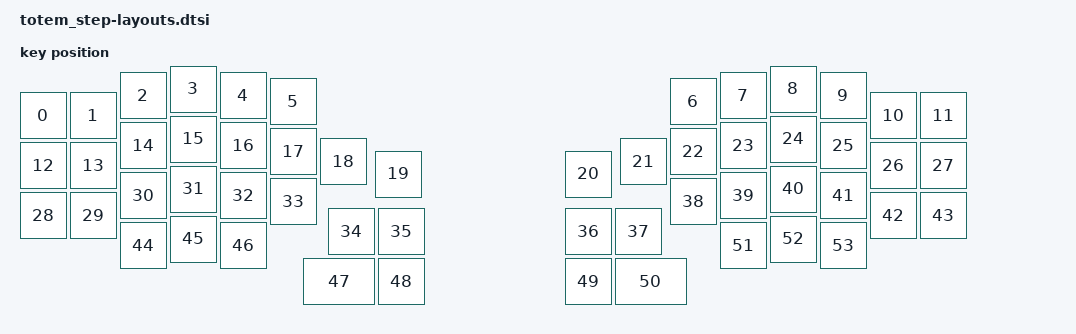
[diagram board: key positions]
#include <physical_layouts.dtsi>

/ {
    totem_step_physical_layout: totem_step_physical_layout {
        compatible = "zmk,physical-layout";
        display-name = "Totem_Step";

        keys  //                     w   h    x    y     rot    rx    ry
            = <&key_physical_attrs 100 100    0   53       0     0     0>
            , <&key_physical_attrs 100 100  100   53       0     0     0>
            , <&key_physical_attrs 100 100  200   13       0     0     0>
            , <&key_physical_attrs 100 100  300    0       0     0     0>
            , <&key_physical_attrs 100 100  400   13       0     0     0>
            , <&key_physical_attrs 100 100  500   25       0     0     0>
            , <&key_physical_attrs 100 100 1300   25       0     0     0>
            , <&key_physical_attrs 100 100 1400   13       0     0     0>
            , <&key_physical_attrs 100 100 1500    0       0     0     0>
            , <&key_physical_attrs 100 100 1600   13       0     0     0>
            , <&key_physical_attrs 100 100 1700   53       0     0     0>
            , <&key_physical_attrs 100 100 1800   53       0     0     0>
            , <&key_physical_attrs 100 100    0  153       0     0     0>
            , <&key_physical_attrs 100 100  100  153       0     0     0>
            , <&key_physical_attrs 100 100  200  113       0     0     0>
            , <&key_physical_attrs 100 100  300  100       0     0     0>
            , <&key_physical_attrs 100 100  400  113       0     0     0>
            , <&key_physical_attrs 100 100  500  125       0     0     0>
            , <&key_physical_attrs 100 100  600  145       0     0     0>
            , <&key_physical_attrs 100 100  710  170       0     0     0>
            , <&key_physical_attrs 100 100 1090  170       0     0     0>
            , <&key_physical_attrs 100 100 1200  145       0     0     0>
            , <&key_physical_attrs 100 100 1300  125       0     0     0>
            , <&key_physical_attrs 100 100 1400  113       0     0     0>
            , <&key_physical_attrs 100 100 1500  100       0     0     0>
            , <&key_physical_attrs 100 100 1600  113       0     0     0>
            , <&key_physical_attrs 100 100 1700  153       0     0     0>
            , <&key_physical_attrs 100 100 1800  153       0     0     0>
            , <&key_physical_attrs 100 100    0  253       0     0     0>
            , <&key_physical_attrs 100 100  100  253       0     0     0>
            , <&key_physical_attrs 100 100  200  213       0     0     0>
            , <&key_physical_attrs 100 100  300  200       0     0     0>
            , <&key_physical_attrs 100 100  400  213       0     0     0>
            , <&key_physical_attrs 100 100  500  225       0     0     0>
            , <&key_physical_attrs 100 100  617  285       0     0     0>
            , <&key_physical_attrs 100 100  717  285       0     0     0>
            , <&key_physical_attrs 100 100 1090  285       0     0     0>
            , <&key_physical_attrs 100 100 1190  285       0     0     0>
            , <&key_physical_attrs 100 100 1300  225       0     0     0>
            , <&key_physical_attrs 100 100 1400  213       0     0     0>
            , <&key_physical_attrs 100 100 1500  200       0     0     0>
            , <&key_physical_attrs 100 100 1600  213       0     0     0>
            , <&key_physical_attrs 100 100 1700  253       0     0     0>
            , <&key_physical_attrs 100 100 1800  253       0     0     0>
            , <&key_physical_attrs 100 100  200  313       0     0     0>
            , <&key_physical_attrs 100 100  300  300       0     0     0>
            , <&key_physical_attrs 100 100  400  313       0     0     0>
            , <&key_physical_attrs 150 100  567  385       0     0     0>
            , <&key_physical_attrs 100 100  717  385       0     0     0>
            , <&key_physical_attrs 100 100 1090  385       0     0     0>
            , <&key_physical_attrs 150 100 1190  385       0     0     0>
            , <&key_physical_attrs 100 100 1400  313       0     0     0>
            , <&key_physical_attrs 100 100 1500  300       0     0     0>
            , <&key_physical_attrs 100 100 1600  313       0     0     0>
            ;
    };
};
